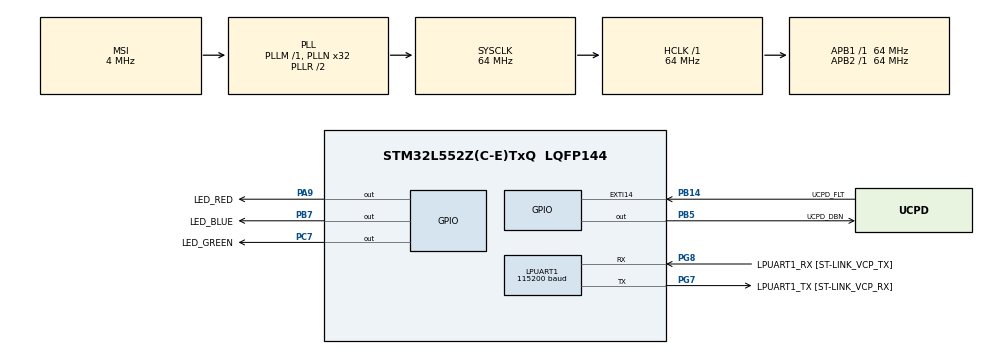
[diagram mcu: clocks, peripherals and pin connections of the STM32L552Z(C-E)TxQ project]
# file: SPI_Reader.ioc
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LPUART1.BaudRate=115200
Mcu.Family=STM32L5
Mcu.Name=STM32L552Z(C-E)TxQ
Mcu.Package=LQFP144
Mcu.TrustZone=disable
NVIC.PriorityGroup=NVIC_PRIORITYGROUP_3
PA11.Signal=USB_DM
PA13\ (JTMS/SWDIO).Signal=DEBUG_JTMS-SWDIO
PA14\ (JTCK/SWCLK).Signal=DEBUG_JTCK-SWCLK
PA15\ (JTDI).Signal=UCPD1_CC1
PA9.GPIO_Label=LED_RED
PA9.Signal=GPIO_Output
PB14.GPIO_Label=UCPD_FLT
PB14.Signal=GPXTI14
PB15.Signal=UCPD1_CC2
PB3\ (JTDO/TRACESWO).Signal=DEBUG_JTDO-SWO
PB5.GPIO_Label=UCPD_DBN
PB5.Signal=GPIO_Output
PB7.GPIO_Label=LED_BLUE
PB7.Signal=GPIO_Output
PC13.GPIO_Label=USER_BUTTON
PC13.Signal=PWR_WKUP2
PC14-OSC32_IN\ (PC14).Signal=RCC_OSC32_IN
PC15-OSC32_OUT\ (PC15).Signal=RCC_OSC32_OUT
PC2.GPIO_Label=VBUS_SENSE
PC2.Signal=ADCx_IN3
PC7.GPIO_Label=LED_GREEN
PC7.Signal=GPIO_Output
PG7.GPIO_Label=LPUART1_TX [ST-LINK_VCP_RX]
PG7.Mode=Asynchronous
PG7.Signal=LPUART1_TX
PG8.GPIO_Label=LPUART1_RX [ST-LINK_VCP_TX]
PG8.Mode=Asynchronous
PG8.Signal=LPUART1_RX
ProjectManager.HeapSize=0x200
ProjectManager.StackSize=0x400
ProjectManager.TargetToolchain=STM32CubeIDE
RCC.ADCCLockSelection=RCC_ADCCLKSOURCE_SYSCLK
RCC.ADCFreq_Value=64000000
RCC.AHBFreq_Value=64000000
RCC.APB1Freq_Value=64000000
RCC.APB1TimFreq_Value=64000000
RCC.APB2Freq_Value=64000000
RCC.APB2TimFreq_Value=64000000
RCC.CK48CLockSelection=RCC_USBCLKSOURCE_HSI48
RCC.CortexFreq_Value=64000000
RCC.HCLKFreq_Value=64000000
RCC.HSE_VALUE=8000000
RCC.HSI48_VALUE=48000000
RCC.HSI_VALUE=16000000
RCC.LSE_VALUE=32768
RCC.MSI_VALUE=4000000
RCC.PLLN=32
RCC.PLLSAI1N=24
RCC.RTCClockSelection=RCC_RTCCLKSOURCE_LSE
RCC.SYSCLKFreq_VALUE=64000000
RCC.SYSCLKSource=RCC_SYSCLKSOURCE_PLLCLK
RCC.USBFreq_Value=48000000
RCC.VCOOutputFreq_Value=128000000
SH.ADCx_IN3.0=ADC1_IN3
VP_ICACHE_VS_ICACHE.Mode=DirectMappedCache
board=NUCLEO-L552ZE-Q

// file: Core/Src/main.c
/* USER CODE BEGIN Header */
/**
  ******************************************************************************
  * @file           : main.c
  * @brief          : Main program body
  ******************************************************************************
  * @attention
  *
  * Copyright (c) 2022 STMicroelectronics.
  * All rights reserved.
  *
  * This software is licensed under terms that can be found in the LICENSE file
  * in the root directory of this software component.
  * If no LICENSE file comes with this software, it is provided AS-IS.
  *
  ******************************************************************************
  */
/* USER CODE END Header */
#include "main.h"

/* USER CODE BEGIN Includes */
#include "string.h"
#include <stdint.h>
#include "stdio.h"
#include "stm32l5xx_hal.h"
#include "stm32l5xx_hal_tim.h"
/* USER CODE END Includes */

/* USER CODE BEGIN PD */
// CANguru FSM states definition
//#define IDLE_STATE 0
//#define DATA_RECEIVE_STATE 1

#define IDLE		0
#define ID 			1
#define RTR	 		2
#define IDE			3
#define R0		 	4
#define BRS		 	5
#define ESI		 	6
#define DLC_FD	 	7
#define DATA_FD	 	8
#define DLC			9
#define DATA	 	10
#define CRC_CAN	 	11
#define CRCDEL	 	12
#define CRC_FD	 	13
#define CRCDEL_FD 	14
#define ERRORFLAG 	15
#define ERRORDEL 	16
#define IF		 	17
#define OVERFLAG 	18
#define OVERDEL 	19

#define MAX_SIZE	65536
#define NOM_SIZE	2
#define DATA_SIZE	1
#define RATIO 		NOM_SIZE / DATA_SIZE	// data-nominal bit rate ratio used for sampling
#define SKIP_SIZE 	(6 - (6 / RATIO)) * NOM_SIZE + ((NOM_SIZE + DATA_SIZE) / 2)
#define START_INDEX (NOM_SIZE / 2) - 1
/* USER CODE END PD */

UART_HandleTypeDef hlpuart1;

/* USER CODE BEGIN PV */
const int CAN_DL_BITS[] = {0, 8, 16, 24, 32, 40, 48, 56, 64, 64, 64, 64, 64, 64, 64, 64, 64};		// CAN DLC -> bits mapping
const int CAN_FD_DL_BITS[] = {0, 8, 16, 24, 32, 40, 48, 56, 64, 96, 128, 160, 192, 256, 384, 512};	// CAN FD DLC -> bits mapping

//uint8_t currentState = IDLE_STATE;
////uint8_t myRxFifo[SIZE];  // Assuming SIZE is the size of your myRxFifo array
//uint8_t newDataArray[MAX_SIZE];  // The array to store data after the first bit 0
//uint8_t readIndex = 0;  // Index for reading from myRxFifo
//uint8_t writeIndex = 0;  // Index for writing to newDataArray

char data[5000];				// buffer used to print with UART
volatile uint8_t RxData;		// temporary variable where the content of RXFIFO is stored
//volatile uint8_t TxData= 0b000000;	//// temporary variable to send data over SPI
uint8_t bits[8];				// split and store bits from RxData
volatile uint8_t bit = 1;			// compute (majority o ignoranza) the read bit and store it
//int majority = 0;				// majority value
uint8_t currentState = IDLE;	// state used in the FSM
uint8_t STUFF = 0;				// stuff bit counter
uint8_t PC = 0;					// counter to update STUFF and CRC_STUFF (Polarity Counter)
int BC = 0;						// number of read bits counter (Bit Counter)
int CC = 0;						// used to update CRC_STUFF (CRC Counter)
uint8_t formError = 0;			// used to signal a form error occurred
uint8_t previousBit = 1;		// used to update PC
int TEC = 0;					// Transmit Error Counter (of the protected ECU)
int IC = 0;						// Intermission Counter, used to go back to IDLE state
int DC = 0;						// Dominant Counter used in ERRORFLAG
int RC = 0;						// Recessive Counter used in ERRORFLAG and ERRORDEL
uint8_t RTRbit;					// store RTR bit, used in Classical CAN
uint8_t IDEbit;					// store IDE bit, used for 29 bit IDs (TODO)
uint8_t ESIbit;					// store ESI bit, maybe useless or useful to double check
uint8_t BRSbit = 0;				// store BRS bit, used in CAN FD
uint8_t CRC_LEN;				// CRC length (15 for Classical CAN, 17 or 21 for FD)
uint8_t CRC_STUFF;				// CRC stuff bit counter (FD version)
uint8_t stuffedBit = 0;			// boolean value used to say if the current bit is a stuff bit
uint8_t CurrentID[11];			// array to store the current frame's ID
uint8_t currentDLC[4];			// array to store the current Data Length Code
uint8_t DL;						// variable computed from currentDLC
uint8_t currentPayload[512];	// array to store the current Payload (not really useful)
int byteSize;					// temporary variable to store the DLC code integer translation
//volatile int sw = 0;
volatile uint8_t myRxFifo[MAX_SIZE];	// FIFO where the IRS stores the read bits
uint8_t myInt = 255;
volatile int readIndex = 0;				// index of the last bit read and then written in myRxFifo
volatile int processIndex = 0;			// index of the next bit to process from myRxFifo
int p = 7;								// actual index used to take the value from myRxFifo
int r = 0;								// actual index used to store the value in myRxFifo
volatile int FIRST = 1;					// flag to signal it's the first frame, set to 0 when we read the first SOF bit
int newP = 0;
int newPI = 0;
uint8_t bitStream[MAX_SIZE];
uint8_t dataStream[MAX_SIZE];
int currentID = 0;
int i = 0;
int tot = 0;
int diff;
int id_array[512];
int protectedID = 0x12;
uint32_t start_time = 0;
uint32_t end_time = 0;

/* USER CODE END PV */

void SystemClock_Config(void);
static void MX_GPIO_Init(void);
static void MX_ICACHE_Init(void);
static void MX_LPUART1_UART_Init(void);
/* USER CODE BEGIN PFP */
void SPI_Config(void);
void SPI_GPIO_Config(void);
void LED_GPIO_Config(void);

void SPI_CS_Enable(void);
void SPI_CS_Disable(void);
void SPI_Enable(void);
void SPI_Disable(void);

void LED_GPIO_On(void);
void LED_GPIO_Off(void);

void UART_Send_FIFO(int,int);

void FSM_Init(void);
void fix_index(void);

/* USER CODE END PFP */

/* USER CODE BEGIN 0 */

uint16_t myTxData = 0xc0;

/* USER CODE END 0 */

int main(void)
{

  /* MCU Configuration--------------------------------------------------------*/

  /* Reset of all peripherals, Initializes the Flash interface and the Systick. */
  HAL_Init();

  /* Configure the system clock */
  SystemClock_Config();

  /* USER CODE BEGIN SysInit */
  SPI_Config();
  SPI_GPIO_Config();
  LED_GPIO_Config();
  /* USER CODE END SysInit */

  /* Initialize all configured peripherals */
  MX_GPIO_Init();
  MX_ICACHE_Init();
  MX_LPUART1_UART_Init();
  /* USER CODE BEGIN 2 */

  // enable RXNE interrupt from SPI peripheral
  NVIC_EnableIRQ(SPI1_IRQn);
  HAL_Delay(10);

  // write into TXFIFO - keep everything recessive
  SPI1->DR = 0xffff;

  // start Reading MISO by enabling SPI peripheral and CS pin
  SPI1->CR1 |= (1<<6);				// SPI Peripheral Enable
  GPIOA->BSRR |= (1<<4)<<16;		// CS Enable

  /* USER CODE END 2 */

  /* Infinite loop */
  /* USER CODE BEGIN WHILE */
  while (1)
  {

//	  // Measure start time
//	      start_time = HAL_GetTick();
	  // wait until there is something to process in my FIFO
	  while(processIndex >= readIndex){}

	  // ------------------ FIFO INDEX NORMALIZATION ------------------

	  // keep SPI queue full of recessive bits
	  SPI1->DR = 0xffff;

	  if(currentState == IDLE){
		  myInt = myRxFifo[processIndex];

		  if(myInt == 255){		// no need to check (all 1s), check next cell
			  processIndex++;
			  continue;
		  }
		  else{					// i need to get to the exact first 0 subbit, all 0s included

			  bit = (myInt >> p) & 1;	// take the first bit from left
			  while(bit != 0){
				  p--;					// shift position
				  bit = (myInt >> p) & 1;	// get new subbit
			  }
			  p -= START_INDEX;				// when OK, fix index

			  bit = (myInt >> p) & 1;		// take the bit (mmmh)

			  // need to check if it is a real SOF or a single sample failure
			  fix_index();

		  }
	  }
	  // ------------------ UPDATE COUNTERS AND CHECK ERRORS ------------------

//	  // fix p and processIndex if p is > 7
	  fix_index();

	  bit = (myRxFifo[processIndex] >> p) & 1;	// take the actual bit
	  // Print each bit
//	  sprintf(data, "BIT %d = %d\r\n", i, bit);
//	  HAL_UART_Transmit(&hlpuart1, (uint8_t *)data, strlen(data), 1000);    // debug
	  bitStream[i] = bit;
	  i++;

	  BC++;
	  // reset stuff bit flag
	  stuffedBit = 0;

	  // Polarity Count update
	  if(bit == previousBit)
		  PC++;

	  else{
		  if(PC == 4 && currentState >= ID && currentState <= CRC_CAN){	// if I have 5 identical bit and now a different one, this is the stuffed one
		  	  stuffedBit = 1;	// I should ignore this bit
		  	  STUFF++;			// STUFF count update
	  	  }
	  	  PC = 0;
	  }
	  previousBit = bit;

	  // in states where bit stuffing rule is applied -> from ID to CRC_CAN (FD version is handled below)

	  if(PC == 5 && currentState >= ID && currentState <= CRC_CAN) // BIT STUFFING rule exception
	  		currentState = ERRORFLAG;

	  //	   ------------------ FSM TRANSITIONS AND STATE UPDATE ------------------
	  //	   if the bit I'm reading is not the stuff bit itself OK, otherwise I need to ignore it
	  if(!stuffedBit){

		switch(currentState){

			case IDLE:

				if(bit == 0)	// change state if dominant (SoF), nothing otherwise
	   			currentState = ID;
	   		break;

	  	  	case ID:
	  	  		currentID = (currentID << 1) + bit;
	  	  		CurrentID[BC-2-STUFF] = bit;	// save ID bit by bit

	  			if(BC == 12+STUFF)		// if ID is finished go to RTR
	  			{
	  				currentState = RTR;
	  				id_array[tot] = currentID;

	  		        if (currentID== 18) {
	  		        	LED_GPIO_On();

	  		        	GPIOA->BSRR |= (1<<4)<<16;
	  		        	    // Wait until the transmit buffer is empty
	  		        	    while ((SPI1->SR & SPI_SR_TXE) == 0);
	  		        	    while ((SPI1->SR & SPI_SR_BSY) != 0) {
	  		        	    		SPI1->DR = 0xc0;
	  		        	    		if (SPI1->DR == myTxData)
	  		        	    		{
	  		        	    			char bitStr[18];
	  		        	    			snprintf(bitStr, sizeof(bitStr), "Data sent: %x \r\n", myTxData);
	  		        	    			HAL_UART_Transmit(&hlpuart1, (uint8_t*)bitStr, strlen(bitStr), HAL_MAX_DELAY);
//	  		        	    			end_time = HAL_GetTick();
//	  		        	    	  	  	uint32_t time_diff = end_time - start_time;
//	  		        	    	  	  	sprintf(data, "Time_Elappsed = %lu\r\n", time_diff);
//	  		        	    	  	  	HAL_UART_Transmit(&hlpuart1, (uint8_t *)data, strlen(data), 1000);
	  		        	    			HAL_Delay(1000);
	  		        	    		    SPI1->DR = 0xffff;

	  		        	    			SPI1->SR &= ~SPI_SR_TXE;
	  		        	    			GPIOA->BSRR |= (1<<4);
	  		        	    			break;
	  		        	    		}

	  		        	       }
//	  		        	    SPI1->DR = 0xffff;
//
//	  		        	    SPI1->SR &= ~SPI_SR_TXE;
//	  		        	    GPIOA->BSRR |= (1<<4);
//	  		        	  break;
	  		        }

	  				sprintf(data, "ID = %d\r\n", currentID);
	  				HAL_UART_Transmit(&hlpuart1, (uint8_t *)data, strlen(data), 1000);
	  				LED_GPIO_Off();

	  			}
	  	  	break;

	    	case ERRORFLAG:
	    		if (tot == 0)
	    		{
	  	  			//UART_Send_FIFO(processIndex,readIndex);

	    			//sprintf(data, "ERROR %d\r\n",tot);
	  				//HAL_UART_Transmit(&hlpuart1, (uint8_t *)data, strlen(data), 1000);
	    		}
	  				// need to handle the case where an error is detected during DATA, transmitted at ARB
	    		if(BRSbit == 1){
	    			//UART_Send_FIFO(processIndex,readIndex);

	    			// skip all redundant subbits, deactivate BRS and go to the next bit at the next iteration
	    			p -= SKIP_SIZE;
	    			BRSbit = 0;
	    			continue;
	    		}

	    		if(bit == 0){
	    			formError = 0;
	    			DC++;
	    			if((DC % 8 == 0) && (DC > 0))
	    			{	// exception (6)
	    				//currentState = ERRORDEL;
	    	  			if (currentID == protectedID)
	    	  				TEC += 8;
	    					//sprintf(data, "Exception 6\r\n");
	    					//HAL_UART_Transmit(&hlpuart1, (uint8_t *)data, strlen(data), 1000);
	    			}
	    		} else
	    		{	// start of Error Delimiter
	    			RC++;
	    			currentState = ERRORDEL;
	    			if (currentID == protectedID)
	    				TEC += 8;
	  					//sprintf(data, "Error Delimiter, TEC = %d, count(0) = %d, count(1) = %d\r\n", TEC, DC, RC);
	  					//HAL_UART_Transmit(&hlpuart1, (uint8_t *)data, strlen(data), 1000);
	    		}
	    	break;

	    	case ERRORDEL:
	    		//UART_Send_Bits();

	    		if(bit == 1)
	    			RC++;
	    		if(formError == 1 && RC == 14)
	    			currentState = IF;
	    		if(formError == 0 && RC == 8)
	    			currentState = IF;
	    	break;

	    	case IF:
	    		if(bit == 0)
	    			currentState = OVERFLAG;
	    		else{
	    			IC++;
	    			if(IC == 3){
	    				tot++;

	    		  		// reset everything but TEC
	    		  		//FSM_Init();
	    				BC = 0;
	    				PC = 0;
	    				CC = 0;
	    				STUFF = 0;
	    				DL = 0;
	    				formError = 0;
	    				CRC_LEN = 0;
	    				CRC_STUFF = 0;
	    				IC = 0;
	    				RC = 0;
	    				DC = 0;
	    				currentState = IDLE;
	    				currentID = 0;
	    				p = 7;
	    			continue;
	    			}
	    		}
	    	break;
	    		}
	    	}

//	 bit processed, update the index
	 if(BRSbit == 1)
		 p -= DATA_SIZE;		// need to read "sub bits" in data phase
	 else
		 p -= NOM_SIZE;		// skip "sub bits" until the new bit

    /* USER CODE END WHILE */

  }
}

void SystemClock_Config(void)
{
  RCC_OscInitTypeDef RCC_OscInitStruct = {0};
  RCC_ClkInitTypeDef RCC_ClkInitStruct = {0};

  /** Configure the main internal regulator output voltage
  */
  if (HAL_PWREx_ControlVoltageScaling(PWR_REGULATOR_VOLTAGE_SCALE1) != HAL_OK)
  {
    Error_Handler();
  }

  /** Initializes the RCC Oscillators according to the specified parameters
  * in the RCC_OscInitTypeDef structure.
  */
  RCC_OscInitStruct.OscillatorType = RCC_OSCILLATORTYPE_MSI;
  RCC_OscInitStruct.MSIState = RCC_MSI_ON;
  RCC_OscInitStruct.MSICalibrationValue = RCC_MSICALIBRATION_DEFAULT;
  RCC_OscInitStruct.MSIClockRange = RCC_MSIRANGE_6;
  RCC_OscInitStruct.PLL.PLLState = RCC_PLL_ON;
  RCC_OscInitStruct.PLL.PLLSource = RCC_PLLSOURCE_MSI;
  RCC_OscInitStruct.PLL.PLLM = 1;
  RCC_OscInitStruct.PLL.PLLN = 32;
  RCC_OscInitStruct.PLL.PLLP = RCC_PLLP_DIV7;
  RCC_OscInitStruct.PLL.PLLQ = RCC_PLLQ_DIV2;
  RCC_OscInitStruct.PLL.PLLR = RCC_PLLR_DIV2;
  if (HAL_RCC_OscConfig(&RCC_OscInitStruct) != HAL_OK)
  {
    Error_Handler();
  }

  /** Initializes the CPU, AHB and APB buses clocks
  */
  RCC_ClkInitStruct.ClockType = RCC_CLOCKTYPE_HCLK|RCC_CLOCKTYPE_SYSCLK
                              |RCC_CLOCKTYPE_PCLK1|RCC_CLOCKTYPE_PCLK2;
  RCC_ClkInitStruct.SYSCLKSource = RCC_SYSCLKSOURCE_PLLCLK;
  RCC_ClkInitStruct.AHBCLKDivider = RCC_SYSCLK_DIV1;
  RCC_ClkInitStruct.APB1CLKDivider = RCC_HCLK_DIV1;
  RCC_ClkInitStruct.APB2CLKDivider = RCC_HCLK_DIV1;

  if (HAL_RCC_ClockConfig(&RCC_ClkInitStruct, FLASH_LATENCY_3) != HAL_OK)
  {
    Error_Handler();
  }
}

static void MX_ICACHE_Init(void)
{

  /** Enable instruction cache in 1-way (direct mapped cache)
  */
  if (HAL_ICACHE_ConfigAssociativityMode(ICACHE_1WAY) != HAL_OK)
  {
    Error_Handler();
  }
  if (HAL_ICACHE_Enable() != HAL_OK)
  {
    Error_Handler();
  }

}

static void MX_LPUART1_UART_Init(void)
{

  hlpuart1.Instance = LPUART1;
  hlpuart1.Init.BaudRate = 115200;
  hlpuart1.Init.WordLength = UART_WORDLENGTH_8B;
  hlpuart1.Init.StopBits = UART_STOPBITS_1;
  hlpuart1.Init.Parity = UART_PARITY_NONE;
  hlpuart1.Init.Mode = UART_MODE_TX_RX;
  hlpuart1.Init.HwFlowCtl = UART_HWCONTROL_NONE;
  hlpuart1.Init.OneBitSampling = UART_ONE_BIT_SAMPLE_DISABLE;
  hlpuart1.Init.ClockPrescaler = UART_PRESCALER_DIV1;
  hlpuart1.AdvancedInit.AdvFeatureInit = UART_ADVFEATURE_NO_INIT;
  hlpuart1.FifoMode = UART_FIFOMODE_DISABLE;
  if (HAL_UART_Init(&hlpuart1) != HAL_OK)
  {
    Error_Handler();
  }
  if (HAL_UARTEx_SetTxFifoThreshold(&hlpuart1, UART_TXFIFO_THRESHOLD_1_8) != HAL_OK)
  {
    Error_Handler();
  }
  if (HAL_UARTEx_SetRxFifoThreshold(&hlpuart1, UART_RXFIFO_THRESHOLD_1_8) != HAL_OK)
  {
    Error_Handler();
  }
  if (HAL_UARTEx_DisableFifoMode(&hlpuart1) != HAL_OK)
  {
    Error_Handler();
  }

}

static void MX_GPIO_Init(void)
{
  GPIO_InitTypeDef GPIO_InitStruct = {0};

  /* GPIO Ports Clock Enable */
  __HAL_RCC_GPIOC_CLK_ENABLE();
  __HAL_RCC_GPIOB_CLK_ENABLE();
  __HAL_RCC_GPIOG_CLK_ENABLE();
  HAL_PWREx_EnableVddIO2();
  __HAL_RCC_GPIOA_CLK_ENABLE();

  /*Configure GPIO pin Output Level */
  HAL_GPIO_WritePin(LED_GREEN_GPIO_Port, LED_GREEN_Pin, GPIO_PIN_RESET);

  /*Configure GPIO pin Output Level */
  HAL_GPIO_WritePin(LED_RED_GPIO_Port, LED_RED_Pin, GPIO_PIN_RESET);

  /*Configure GPIO pin Output Level */
  HAL_GPIO_WritePin(GPIOB, UCPD_DBN_Pin|LED_BLUE_Pin, GPIO_PIN_RESET);

  /*Configure GPIO pin : VBUS_SENSE_Pin */
  GPIO_InitStruct.Pin = VBUS_SENSE_Pin;
  GPIO_InitStruct.Mode = GPIO_MODE_ANALOG;
  GPIO_InitStruct.Pull = GPIO_NOPULL;
  HAL_GPIO_Init(VBUS_SENSE_GPIO_Port, &GPIO_InitStruct);

  /*Configure GPIO pin : UCPD_FLT_Pin */
  GPIO_InitStruct.Pin = UCPD_FLT_Pin;
  GPIO_InitStruct.Mode = GPIO_MODE_IT_RISING;
  GPIO_InitStruct.Pull = GPIO_NOPULL;
  HAL_GPIO_Init(UCPD_FLT_GPIO_Port, &GPIO_InitStruct);

  /*Configure GPIO pin : PB15 */
  GPIO_InitStruct.Pin = GPIO_PIN_15;
  GPIO_InitStruct.Mode = GPIO_MODE_ANALOG;
  GPIO_InitStruct.Pull = GPIO_NOPULL;
  HAL_GPIO_Init(GPIOB, &GPIO_InitStruct);

  /*Configure GPIO pin : LED_GREEN_Pin */
  GPIO_InitStruct.Pin = LED_GREEN_Pin;
  GPIO_InitStruct.Mode = GPIO_MODE_OUTPUT_PP;
  GPIO_InitStruct.Pull = GPIO_NOPULL;
  GPIO_InitStruct.Speed = GPIO_SPEED_FREQ_LOW;
  HAL_GPIO_Init(LED_GREEN_GPIO_Port, &GPIO_InitStruct);

  /*Configure GPIO pin : LED_RED_Pin */
  GPIO_InitStruct.Pin = LED_RED_Pin;
  GPIO_InitStruct.Mode = GPIO_MODE_OUTPUT_PP;
  GPIO_InitStruct.Pull = GPIO_NOPULL;
  GPIO_InitStruct.Speed = GPIO_SPEED_FREQ_LOW;
  HAL_GPIO_Init(LED_RED_GPIO_Port, &GPIO_InitStruct);

  /*Configure GPIO pin : PA11 */
  GPIO_InitStruct.Pin = GPIO_PIN_11;
  GPIO_InitStruct.Mode = GPIO_MODE_AF_PP;
  GPIO_InitStruct.Pull = GPIO_NOPULL;
  GPIO_InitStruct.Speed = GPIO_SPEED_FREQ_LOW;
  GPIO_InitStruct.Alternate = GPIO_AF10_USB;
  HAL_GPIO_Init(GPIOA, &GPIO_InitStruct);

  /*Configure GPIO pin : PA15 */
  GPIO_InitStruct.Pin = GPIO_PIN_15;
  GPIO_InitStruct.Mode = GPIO_MODE_ANALOG;
  GPIO_InitStruct.Pull = GPIO_NOPULL;
  HAL_GPIO_Init(GPIOA, &GPIO_InitStruct);

  /*Configure GPIO pins : UCPD_DBN_Pin LED_BLUE_Pin */
  GPIO_InitStruct.Pin = UCPD_DBN_Pin|LED_BLUE_Pin;
  GPIO_InitStruct.Mode = GPIO_MODE_OUTPUT_PP;
  GPIO_InitStruct.Pull = GPIO_NOPULL;
  GPIO_InitStruct.Speed = GPIO_SPEED_FREQ_LOW;
  HAL_GPIO_Init(GPIOB, &GPIO_InitStruct);

}

/* USER CODE BEGIN 4 */

void SPI1_IRQHandler(void) {
	/* RXNE Interrupt Callback */

	/* --------------------------- 1 bit at a time, save all 8 subbits ---------------------------------	*/
	//This checks if the RXNE flag in the SPI status register (SR) is set, indicating the receive buffer is not empty
	if(readIndex== MAX_SIZE || processIndex== MAX_SIZE){
		readIndex = 0;
		processIndex = 0;
		}
	if ((SPI1->SR & SPI_SR_RXNE) != RESET) {

		if (!(readIndex > 15 && readIndex < 18))
			SPI1->DR = 0xffff;

	// reads the received data from the SPI data register (DR)
	RxData = *(volatile uint8_t *)&SPI1->DR;

	//check if the received data is not 255 (RxData == 255) when FIRST is true
	if(!(FIRST && (RxData == 255))){
		FIRST = 0; // it is to avoid idle bits at the beginning

		if (readIndex > 15 && readIndex < 18){

			 SPI1->DR = 0xffff;
			//UART_Send_FIFO(0,readIndex);
		}

		myRxFifo[readIndex] = RxData;	// save int in my fifo
		readIndex++;					// Update index

	}
	if (!(readIndex > 15 && readIndex < 18))
		SPI1->DR = 0xffff;

	}
	 // clears the RXNE flag to acknowledge that the receive buffer is now empty
	 SPI1->SR &= ~SPI_SR_RXNE;

}

void SPI_Config(void){
	/* Configure SPI Peripheral */

	RCC->APB2ENR |= (1<<12); 		// Enable SPI1 Peripheral Clock

	// setting bits to 0 is quite useless, I could set all CR1 to 0 and then set needed bits to 1
	// CPOL = 0 and CPHA = 0, default
	SPI1->CR1 |= (1<<1);			// CPOL = 1
	SPI1->CR1 |= (1<<2);			// MSTR = 1, Master mode
	SPI1->CR1 |= (6<<3);			// BR[2:0] = 110 -> 128, 	clk_SPI = 64 MHz/128 = 	500 kHz
	//SPI1->CR1 |= (5<<3);			// BR[2:0] = 101 -> 64, 	clk_SPI = 64 MHz/64 = 	1 MHz
	//SPI1->CR1 |= (4<<3);			// BR[2:0] = 100 -> 32, 	clk_SPI = 64 MHz/32 = 	2 MHz
	//SPI1->CR1 |= (3<<3);			// BR[2:0] = 4 MHz
	SPI1->CR1 &= ~(1<<7);			// LSBFIRST = 0, MSB first
	SPI1->CR1 |= (1<<8) | (1<<9); 	// SSM = 1 and SSI = 1, CS software management
	SPI1->CR1 &= ~(1<<10);			// RXONLY = 0, full-duplex

    SPI1->CR2 = SPI_CR2_FRXTH | SPI_CR2_RXNEIE; // set RX Threshold to 1 (8 bit = Not Empty) and Enable RXNE Interrupt
    // DS will be forced to 8bit = 0111

    //SPI1->CR2 = 0;					// all 0, DS will be forced to 8bit = 0111
}

void SPI_GPIO_Config(void){
	/* Configure SPI Pins - CLK, MOSI, MISO, CS */

	/********************************************/
	/* CLK		->	PA5			Alternate		*/
	/* MISO 	->	PA6 		Alternate	  	*/
	/* MOSI 	->	PA7			Alternate		*/
	/* CS 		->	PA4			Output			*/
	/********************************************/

	RCC->AHB2ENR |= (1<<0); 		// Enable GPIOA Peripheral Clock

	// MODER has reset state = 3, Alt = 2 = 10 and Out = 1 = 01
	GPIOA->MODER &= ~(1<<10) & ~(1<<12) & ~(1<<14) & ~(2<<8);	// PA5,PA6,PA7 in Alternate while PA4 in Output
	GPIOA->OSPEEDR |= (3<<10) | (3<<12) | (3<<14) | (3<<8);		// All HIGH-SPEED = 11
	GPIOA->AFR[0] |= (5<<20) | (5<<24) | (5<<28);				// PA5,PA6,PA7 with AF5 (SPI)
	GPIOA->BSRR |= (0<<5)|(1<<6)|(1<<7)|(1<<4);					// CLK is low when idle, other pins are high
	//GPIOA->BSRR |= (1<<4)<<16;		// CS Enable
}

void LED_GPIO_Config(void){
	/* Configure LED_Green Pin					*/

	/********************************************/
	/* LED_Green		->	PC7					*/
	/********************************************/

	RCC->AHB2ENR |= (1<<2); 		// Enable GPIOC Peripheral Clock

	GPIOC->MODER &= ~(2<<14);		// Output mode for PC7
}

void SPI_CS_Enable(void){
	/* Enable CS Pin by RESETTING it */

	GPIOA->BSRR |= (1<<4)<<16;
}

void SPI_CS_Disable(void){
	/* Disable CS Pin by SETTING it*/

	GPIOA->BSRR |= (1<<4);
}

void SPI_Enable(void){
	/* Enable SPI Peripheral */

	SPI1->CR1 |= (1<<6);			// SPE = 1
}

void SPI_Disable(void){
	/* Disable SPI Peripheral */

	SPI1->CR1 &= ~(1<<6);			// SPE = 0
}

void LED_GPIO_On(void){
	/* Enable LED_Green Pin */

	GPIOC->BSRR |= (1<<7);
}

void LED_GPIO_Off(void){
	/* Disable LED_Green Pin */

	GPIOC->BSRR |= (1<<7)<<16;
}

void FSM_Init(){
	BC = 0;
	PC = 0;
	CC = 0;
	STUFF = 0;
	DL = 0;
	formError = 0;
	CRC_LEN = 0;
	CRC_STUFF = 0;
	IC = 0;
	RC = 0;
	DC = 0;
	currentState = IDLE;
}

void fix_index(){
	while(p < 0){
		p += 8;
		processIndex++;
	}
}

/* USER CODE END 4 */

void Error_Handler(void)
{
  __disable_irq();
  while (1)
  {
  }
}
